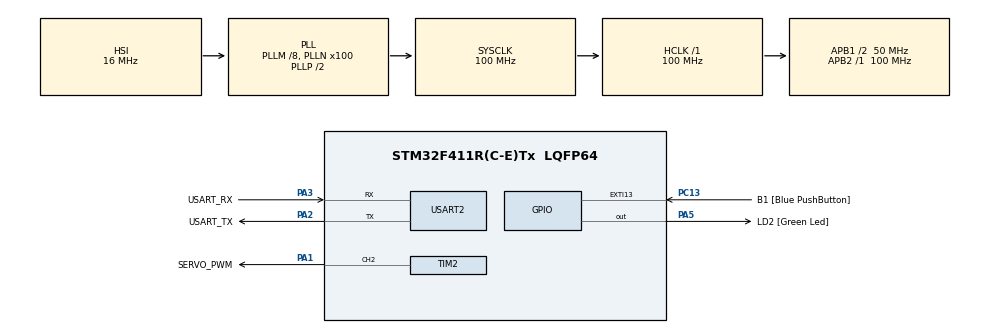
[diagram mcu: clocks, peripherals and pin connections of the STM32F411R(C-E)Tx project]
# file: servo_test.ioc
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Mcu.Family=STM32F4
Mcu.Name=STM32F411R(C-E)Tx
Mcu.Package=LQFP64
NVIC.PriorityGroup=NVIC_PRIORITYGROUP_0
PA1.GPIO_Label=SERVO_PWM
PA1.Signal=S_TIM2_CH2
PA13.GPIO_Label=TMS
PA13.Mode=Serial_Wire
PA13.Signal=SYS_JTMS-SWDIO
PA14.GPIO_Label=TCK
PA14.Mode=Serial_Wire
PA14.Signal=SYS_JTCK-SWCLK
PA2.GPIO_Label=USART_TX
PA2.Mode=Asynchronous
PA2.Signal=USART2_TX
PA3.GPIO_Label=USART_RX
PA3.Mode=Asynchronous
PA3.Signal=USART2_RX
PA5.GPIO_Label=LD2 [Green Led]
PA5.Signal=GPIO_Output
PB3.GPIO_Label=SWO
PB3.Signal=SYS_JTDO-SWO
PC13-ANTI_TAMP.GPIO_Label=B1 [Blue PushButton]
PC13-ANTI_TAMP.GPIO_ModeDefaultEXTI=GPIO_MODE_IT_FALLING
PC13-ANTI_TAMP.Signal=GPXTI13
PC14-OSC32_IN.Mode=LSE-External-Oscillator
PC14-OSC32_IN.Signal=RCC_OSC32_IN
PC15-OSC32_OUT.Mode=LSE-External-Oscillator
PC15-OSC32_OUT.Signal=RCC_OSC32_OUT
PH0\ -\ OSC_IN.Mode=HSE-External-Clock-Source
PH0\ -\ OSC_IN.Signal=RCC_OSC_IN
PH1\ -\ OSC_OUT.Mode=HSE-External-Clock-Source
PH1\ -\ OSC_OUT.Signal=RCC_OSC_OUT
ProjectManager.HeapSize=0x200
ProjectManager.StackSize=0x400
ProjectManager.TargetToolchain=STM32CubeIDE
RCC.48MHZClocksFreq_Value=50000000
RCC.AHBFreq_Value=100000000
RCC.APB1CLKDivider=RCC_HCLK_DIV2
RCC.APB1Freq_Value=50000000
RCC.APB1TimFreq_Value=100000000
RCC.APB2Freq_Value=100000000
RCC.APB2TimFreq_Value=100000000
RCC.CortexFreq_Value=100000000
RCC.FLatency-AdvancedSettings=FLASH_LATENCY_3
RCC.HCLKFreq_Value=100000000
RCC.HSE_VALUE=8000000
RCC.HSI_VALUE=16000000
RCC.PLLM=8
RCC.PLLN=100
RCC.SYSCLKFreq_VALUE=100000000
RCC.SYSCLKSource=RCC_SYSCLKSOURCE_PLLCLK
RCC.VCOOutputFreq_Value=200000000
SH.S_TIM2_CH2.0=TIM2_CH2,PWM Generation2 CH2
TIM2.Channel-PWM\ Generation2\ CH2=TIM_CHANNEL_2
TIM2.Period=20000-1
TIM2.Prescaler=100-1
TIM2.Pulse-PWM\ Generation2\ CH2=1000
USART2.VirtualMode=VM_ASYNC
board=NUCLEO-F411RE

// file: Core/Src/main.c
/* USER CODE BEGIN Header */
/**
  ******************************************************************************
  * @file           : main.c
  * @brief          : Main program body
  ******************************************************************************
  * @attention
  *
  * Copyright (c) 2022 STMicroelectronics.
  * All rights reserved.
  *
  * This software is licensed under terms that can be found in the LICENSE file
  * in the root directory of this software component.
  * If no LICENSE file comes with this software, it is provided AS-IS.
  *
  ******************************************************************************
  */
/* USER CODE END Header */
#include "main.h"

/* USER CODE BEGIN Includes */
#include "servo.h"
#include <stdio.h>
/* USER CODE END Includes */

TIM_HandleTypeDef htim2;

UART_HandleTypeDef huart2;

void SystemClock_Config(void);
static void MX_GPIO_Init(void);
static void MX_USART2_UART_Init(void);
static void MX_TIM2_Init(void);

/* USER CODE BEGIN 0 */

int __io_putchar(int ch)
{
  if (ch == '\n') {
    __io_putchar('\r');
  }

  HAL_UART_Transmit(&huart2, (uint8_t*)&ch, 1, HAL_MAX_DELAY);

  return 1;
}
/* USER CODE END 0 */

int main(void)
{

  /* MCU Configuration--------------------------------------------------------*/

  /* Reset of all peripherals, Initializes the Flash interface and the Systick. */
  HAL_Init();

  /* Configure the system clock */
  SystemClock_Config();

  /* Initialize all configured peripherals */
  MX_GPIO_Init();
  MX_USART2_UART_Init();
  MX_TIM2_Init();
  /* USER CODE BEGIN 2 */
  servo_init(&htim2, TIM_CHANNEL_2);

  uint8_t angle = 180;
  uint32_t time_tick = HAL_GetTick();
  uint32_t max_time = 200;
  /* USER CODE END 2 */

  /* Infinite loop */
  /* USER CODE BEGIN WHILE */
  while (1)
  {
	  if((HAL_GetTick() - time_tick) > max_time)
	  {
		  time_tick = HAL_GetTick();

		  uint32_t pwm = servo_set_angle(angle--);

		  printf("Time pwm: %d\n", pwm);

		  if(angle <= 0)
			  angle = 180;
	  }
    /* USER CODE END WHILE */

  }
}

void SystemClock_Config(void)
{
  RCC_OscInitTypeDef RCC_OscInitStruct = {0};
  RCC_ClkInitTypeDef RCC_ClkInitStruct = {0};

  /** Configure the main internal regulator output voltage
  */
  __HAL_RCC_PWR_CLK_ENABLE();
  __HAL_PWR_VOLTAGESCALING_CONFIG(PWR_REGULATOR_VOLTAGE_SCALE1);
  /** Initializes the RCC Oscillators according to the specified parameters
  * in the RCC_OscInitTypeDef structure.
  */
  RCC_OscInitStruct.OscillatorType = RCC_OSCILLATORTYPE_HSI;
  RCC_OscInitStruct.HSIState = RCC_HSI_ON;
  RCC_OscInitStruct.HSICalibrationValue = RCC_HSICALIBRATION_DEFAULT;
  RCC_OscInitStruct.PLL.PLLState = RCC_PLL_ON;
  RCC_OscInitStruct.PLL.PLLSource = RCC_PLLSOURCE_HSI;
  RCC_OscInitStruct.PLL.PLLM = 8;
  RCC_OscInitStruct.PLL.PLLN = 100;
  RCC_OscInitStruct.PLL.PLLP = RCC_PLLP_DIV2;
  RCC_OscInitStruct.PLL.PLLQ = 4;
  if (HAL_RCC_OscConfig(&RCC_OscInitStruct) != HAL_OK)
  {
    Error_Handler();
  }
  /** Initializes the CPU, AHB and APB buses clocks
  */
  RCC_ClkInitStruct.ClockType = RCC_CLOCKTYPE_HCLK|RCC_CLOCKTYPE_SYSCLK
                              |RCC_CLOCKTYPE_PCLK1|RCC_CLOCKTYPE_PCLK2;
  RCC_ClkInitStruct.SYSCLKSource = RCC_SYSCLKSOURCE_PLLCLK;
  RCC_ClkInitStruct.AHBCLKDivider = RCC_SYSCLK_DIV1;
  RCC_ClkInitStruct.APB1CLKDivider = RCC_HCLK_DIV2;
  RCC_ClkInitStruct.APB2CLKDivider = RCC_HCLK_DIV1;

  if (HAL_RCC_ClockConfig(&RCC_ClkInitStruct, FLASH_LATENCY_3) != HAL_OK)
  {
    Error_Handler();
  }
}

static void MX_TIM2_Init(void)
{

  TIM_MasterConfigTypeDef sMasterConfig = {0};
  TIM_OC_InitTypeDef sConfigOC = {0};

  htim2.Instance = TIM2;
  htim2.Init.Prescaler = 100-1;
  htim2.Init.CounterMode = TIM_COUNTERMODE_UP;
  htim2.Init.Period = 20000-1;
  htim2.Init.ClockDivision = TIM_CLOCKDIVISION_DIV1;
  htim2.Init.AutoReloadPreload = TIM_AUTORELOAD_PRELOAD_DISABLE;
  if (HAL_TIM_PWM_Init(&htim2) != HAL_OK)
  {
    Error_Handler();
  }
  sMasterConfig.MasterOutputTrigger = TIM_TRGO_RESET;
  sMasterConfig.MasterSlaveMode = TIM_MASTERSLAVEMODE_DISABLE;
  if (HAL_TIMEx_MasterConfigSynchronization(&htim2, &sMasterConfig) != HAL_OK)
  {
    Error_Handler();
  }
  sConfigOC.OCMode = TIM_OCMODE_PWM1;
  sConfigOC.Pulse = 1000;
  sConfigOC.OCPolarity = TIM_OCPOLARITY_HIGH;
  sConfigOC.OCFastMode = TIM_OCFAST_DISABLE;
  if (HAL_TIM_PWM_ConfigChannel(&htim2, &sConfigOC, TIM_CHANNEL_2) != HAL_OK)
  {
    Error_Handler();
  }
  HAL_TIM_MspPostInit(&htim2);

}

static void MX_USART2_UART_Init(void)
{

  huart2.Instance = USART2;
  huart2.Init.BaudRate = 115200;
  huart2.Init.WordLength = UART_WORDLENGTH_8B;
  huart2.Init.StopBits = UART_STOPBITS_1;
  huart2.Init.Parity = UART_PARITY_NONE;
  huart2.Init.Mode = UART_MODE_TX_RX;
  huart2.Init.HwFlowCtl = UART_HWCONTROL_NONE;
  huart2.Init.OverSampling = UART_OVERSAMPLING_16;
  if (HAL_UART_Init(&huart2) != HAL_OK)
  {
    Error_Handler();
  }

}

static void MX_GPIO_Init(void)
{
  GPIO_InitTypeDef GPIO_InitStruct = {0};

  /* GPIO Ports Clock Enable */
  __HAL_RCC_GPIOC_CLK_ENABLE();
  __HAL_RCC_GPIOH_CLK_ENABLE();
  __HAL_RCC_GPIOA_CLK_ENABLE();
  __HAL_RCC_GPIOB_CLK_ENABLE();

  /*Configure GPIO pin Output Level */
  HAL_GPIO_WritePin(LD2_GPIO_Port, LD2_Pin, GPIO_PIN_RESET);

  /*Configure GPIO pin : B1_Pin */
  GPIO_InitStruct.Pin = B1_Pin;
  GPIO_InitStruct.Mode = GPIO_MODE_IT_FALLING;
  GPIO_InitStruct.Pull = GPIO_NOPULL;
  HAL_GPIO_Init(B1_GPIO_Port, &GPIO_InitStruct);

  /*Configure GPIO pin : LD2_Pin */
  GPIO_InitStruct.Pin = LD2_Pin;
  GPIO_InitStruct.Mode = GPIO_MODE_OUTPUT_PP;
  GPIO_InitStruct.Pull = GPIO_NOPULL;
  GPIO_InitStruct.Speed = GPIO_SPEED_FREQ_LOW;
  HAL_GPIO_Init(LD2_GPIO_Port, &GPIO_InitStruct);

}

void Error_Handler(void)
{
  __disable_irq();
  while (1)
  {
  }
}
